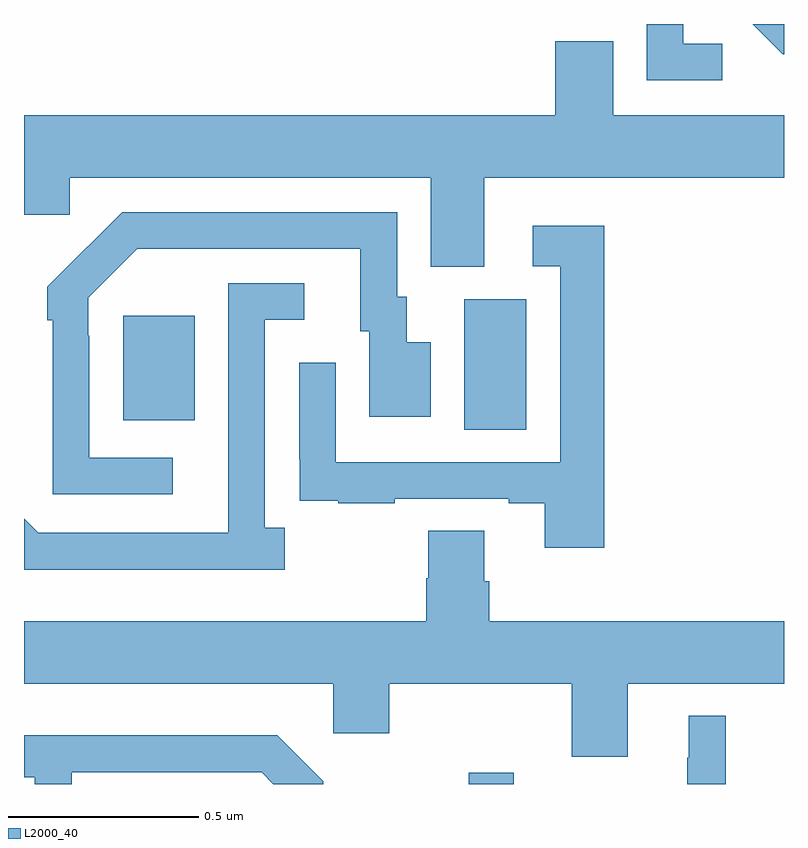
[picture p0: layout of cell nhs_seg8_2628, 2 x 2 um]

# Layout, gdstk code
import gdstk
lib = gdstk.Library(unit=1e-6, precision=1e-09)
def R(c, l, rs):  # rectangles x0, y0, x1, y1
    for r in rs: c.add(gdstk.rectangle(r[:2], r[2:], *l))
def P(c, l, *ps):  # polygons
    for p in ps: c.add(gdstk.Polygon(p, *l))
L2000_40 = (2000, 40)

nhs_seg8_2628 = lib.new_cell('nhs_seg8_2628')
R(nhs_seg8_2628, L2000_40, [(147.17,1118.9,147.289,1118.929), (147.158,1119.832,147.322,1120.176), (146.261,1119.857,146.449,1120.132)])
P(nhs_seg8_2628, L2000_40, [(148,1120.9),(147.918,1120.9),(147.997,1120.82),(148,1120.82)],
  [(147.838,1120.848),(147.735,1120.848),(147.735,1120.9),(147.639,1120.9),(147.639,1120.752),(147.838,1120.752)],
  [(147.211,1120.496),(148,1120.496),(148,1120.66),(147.55,1120.66),(147.55,1120.855),(147.398,1120.855),(147.398,1120.66),(146,1120.66),(146,1120.398),(146.121,1120.398),(146.121,1120.496),(147.071,1120.496),(147.071,1120.261),(147.211,1120.261)],
  [(146.392,1119.759),(146.172,1119.759),(146.172,1120.079),(146.169,1120.079),(146.169,1120.179),(146.298,1120.308),(146.885,1120.308),(146.885,1120.092),(146.909,1120.092),(146.909,1119.867),(147.07,1119.867),(147.07,1120.063),(147.007,1120.063),(147.007,1120.182),(146.982,1120.182),(146.982,1120.404),(146.258,1120.404),(146.167,1120.313),(146.166,1120.314),(146.061,1120.209),(146.061,1120.121),(146.076,1120.121),(146.076,1119.663),(146.392,1119.663)],
  [(147.527,1120.369),(147.339,1120.369),(147.339,1120.263),(147.411,1120.263),(147.411,1119.747),(146.82,1119.747),(146.82,1120.009),(146.724,1120.009),(146.724,1119.754),(146.725,1119.754),(146.725,1119.645),(146.827,1119.645),(146.827,1119.639),(146.975,1119.639),(146.975,1119.651),(147.275,1119.651),(147.275,1119.639),(147.371,1119.639),(147.371,1119.522),(147.527,1119.522)],
  [(146.686,1119.574),(146.634,1119.574),(146.634,1120.122),(146.737,1120.122),(146.737,1120.218),(146.538,1120.218),(146.538,1119.761),(146.537,1119.761),(146.537,1119.561),(146.037,1119.561),(146,1119.598),(146,1119.464),(146.686,1119.464)],
  [(147.589,1119.164),(148,1119.164),(148,1119.328),(147.224,1119.328),(147.224,1119.434),(147.211,1119.434),(147.211,1119.566),(147.064,1119.566),(147.064,1119.441),(147.059,1119.441),(147.059,1119.328),(146,1119.328),(146,1119.164),(146.814,1119.164),(146.814,1119.033),(146.961,1119.033),(146.961,1119.164),(147.442,1119.164),(147.442,1118.972),(147.589,1118.972)],
  [(147.847,1119.079),(147.749,1119.079),(147.749,1118.969),(147.745,1118.969),(147.745,1118.9),(147.847,1118.9)],
  [(146.125,1118.931),(146.625,1118.931),(146.656,1118.9),(146.787,1118.9),(146.787,1118.907),(146.666,1119.028),(146,1119.028),(146,1118.918),(146.028,1118.918),(146.028,1118.9),(146.125,1118.9)])

lib.write_gds('nhs_seg8_2628.gds')
